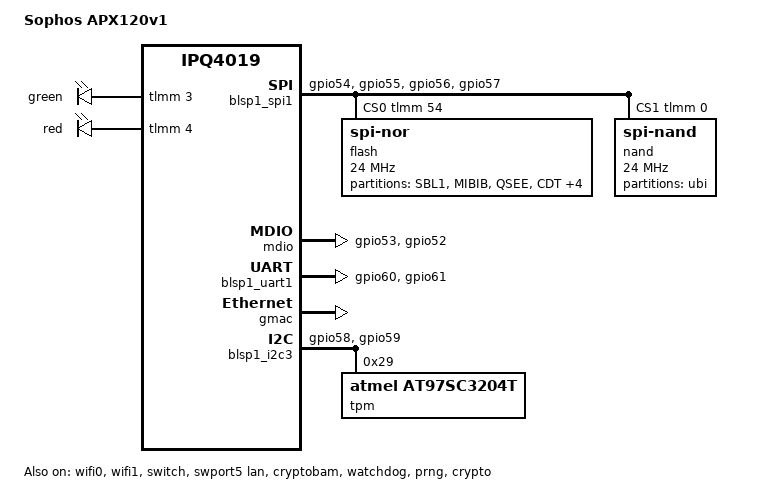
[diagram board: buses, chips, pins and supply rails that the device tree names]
// SPDX-License-Identifier: GPL-2.0-or-later OR MIT

#include "qcom-ipq4019.dtsi"
#include <dt-bindings/gpio/gpio.h>
#include <dt-bindings/input/input.h>
#include <dt-bindings/leds/common.h>
#include <dt-bindings/soc/qcom,tcsr.h>

/ {
	model = "Sophos APX120v1";
	compatible = "sophos,apx120v1";
	
	chosen {
		bootargs-append = " clk_ignore_unused";
	};
	
	soc {
		counter@4a1000 {
			compatible = "qcom,qca-gcnt";
			reg = <0x4a1000 0x4>;
		};

		tcsr@1949000 {
			compatible = "qcom,tcsr";
			reg = <0x1949000 0x100>;
			qcom,wifi_glb_cfg = <TCSR_WIFI_GLB_CFG>;
		};

		tcsr@194b000 {
			compatible = "qcom,tcsr";
			reg = <0x194b000 0x100>;
			qcom,usb-hsphy-mode-select = <TCSR_USB_HSPHY_HOST_MODE>;
		};

		ess_tcsr@1953000 {
			compatible = "qcom,tcsr";
			reg = <0x1953000 0x1000>;
			qcom,ess-interface-select = <TCSR_ESS_PSGMII>;
		};

		tcsr@1957000 {
			compatible = "qcom,tcsr";
			reg = <0x1957000 0x100>;
			qcom,wifi_noc_memtype_m0_m2 = <TCSR_WIFI_NOC_MEMTYPE_M0_M2>;
		};
		gpio-leds {
			compatible = "gpio-leds";
			pinctrl-0 = <&led_0_pins>;

			led_green@0 {
				gpios = <&tlmm 3 0>;
				label = "green";

			};

			led_red@1 {
				gpios = <&tlmm 4 0>;
				label = "red";
			};
		};



	};
	};
&blsp1_spi1 {
	status = "okay";

	pinctrl-0 = <&spi0_pins>;
	cs-gpios = <&tlmm 54 0>,
		   <&tlmm  0 0>;
	pinctrl-names = "default";

	flash@0 {
		compatible = "jedec,spi-nor";
		reg = <0>;
		spi-max-frequency = <24000000>;
		partitions {
			compatible = "fixed-partitions";
			#address-cells = <1>;
			#size-cells = <1>;

			partition@0 {
				label = "SBL1";
				reg = <0x00000000 0x00040000>;
				read-only;
			};

			partition@40000 {
				label = "MIBIB";
				reg = <0x00040000 0x00020000>;
				read-only;
			};

			partition@60000 {
				label = "QSEE";
				reg = <0x00060000 0x00060000>;
				read-only;
			};

			partition@c0000 {
				label = "CDT";
				reg = <0x000c0000 0x00010000>;
				read-only;
			};

			partition@d0000 {
				label = "DDRPARAMS";
				reg = <0x000d0000 0x00010000>;
				read-only;
			};

			partition@e0000 {
				compatible =  "u-boot,env";
				label = "APPSBLENV";
				reg = <0x000e0000 0x00010000>;
			};

			partition@f0000 {
				label = "APPSBL";
				reg = <0x000f0000 0x00080000>;
				read-only;
			};

			partition@170000 {
				label = "ART";
				reg = <0x00170000 0x00010000>;
				read-only;

				nvmem-layout {
					compatible = "fixed-layout";
					#address-cells = <1>;
					#size-cells = <1>;
					macaddr_art_0: macaddr@0 {
					reg = <0x0 0x6>;
					};

					precal_art_1000: precal@1000 {
						reg = <0x1000 0x2f20>;
					};

					precal_art_5000: precal@5000 {
						reg = <0x5000 0x2f20>;
					};
				};
			};

		};
	};


nand@1 {
		compatible = "spi-nand";
		reg = <1>;
		spi-max-frequency = <24000000>;

		partitions {
			compatible = "fixed-partitions";
			#address-cells = <1>;
			#size-cells = <1>;
			partition@0 {
				label = "ubi";
				reg = <0x00 0x10000000>;
				compatible = "ubi,ubi-image";
			};
			
		};
	};
};

&mdio {
	status = "okay";

	pinctrl-0 = <&mdio_pins>;
	pinctrl-names = "default";

};
&blsp1_uart1 {
	status = "okay";

	pinctrl-0 = <&serial0_pins>;
	pinctrl-names = "default";
};
&tlmm {

	mdio_pins: mdio_pinmux {
		mux_mdio {
			pins = "gpio53";
			function = "mdio";
			bias-pull-up;
		};

		mux_mdc {
			pins = "gpio52";
			function = "mdc";
			bias-pull-up;
		};
	};

			serial0_pins: serial_pinmux {
				mux {
					pins = "gpio60", "gpio61";
					function = "blsp_uart0";
					bias-disable;
				};
			};
	spi0_pins: spi0_pinmux {
		mux_spi {
			function = "blsp_spi0";
			pins = "gpio54", "gpio55", "gpio56", "gpio57";
			drive-strength = <12>;
			bias-disable;
		};


			};

			
			leds_pins: led_pinmux {
				mux {
					pins = "gpio63";
					function = "gpio";
					bias-none;
					output-low;
				};
			};
                       led_0_pins: led0_pinmux {
                               mux_1 {
                                       pins = "gpio3";
                                       function = "led3";
                                       bias-pull-down;
                               };
                               mux_2 {
                                       pins = "gpio4";
                                       function = "led4";
                                       bias-pull-down;
                               };
                       };
            i2c0_pins: i2c_0_pinmux {
                mux {
                    pins = "gpio58","gpio59";
                    function = "blsp_i2c0";
                    bias-disable;
                };
	};
};

&wifi0 {
	status = "okay";
	wifi-led-gpios = <&tlmm 58 GPIO_ACTIVE_LOW>;
	nvmem-cell-names = "pre-calibration";
	nvmem-cells = <&precal_art_1000>;
};

&wifi1 {
	status = "okay";
	wifi-led-gpios = <&tlmm 58 GPIO_ACTIVE_LOW>;
	qcom,ath10k-calibration-variant = "Sophos-APX120";
	nvmem-cell-names = "pre-calibration";
	nvmem-cells = <&precal_art_5000>;
};

&gmac {
	status = "okay";
		nvmem-cells = <&macaddr_art_0>;
	nvmem-cell-names = "mac-address";
};

&switch {
	status = "okay";
};
&swport5 {
	status = "okay";

	label = "lan";
};

&blsp1_i2c3 {
	status = "okay";

	pinctrl-0 = <&i2c0_pins>;
		pinctrl-1 = <&i2c0_pins>;
            pinctrl-names = "i2c_active", "i2c_sleep";

            tpm: tpm@29 {
                compatible = "atmel,at97sc3204t";
                reg = <0x29>;
            };
};
&cryptobam {
	status = "okay";
};
	
	&watchdog {
	status = "okay";
};

&prng {
	status = "okay";
};

&crypto {
	status = "okay";
};

&blsp_dma {
	status = "okay";
};

